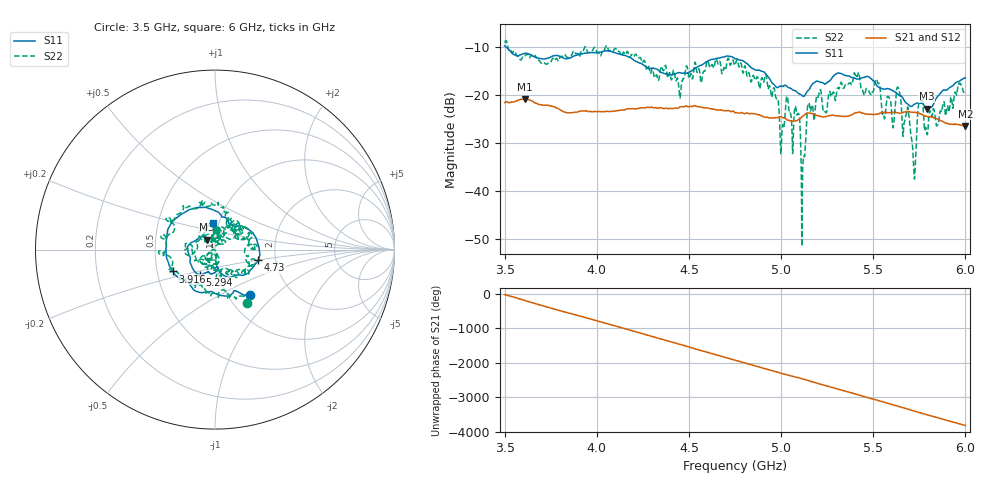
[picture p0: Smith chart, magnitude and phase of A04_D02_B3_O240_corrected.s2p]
! Created with skrf 1.9.0 (http://scikit-rf.org).
# Hz S RI R 50.0
!freq ReS11 ImS11 ReS21 ImS21 ReS12 ImS12 ReS22 ImS22
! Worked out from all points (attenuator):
!   1601 points, 3.5 GHz to 6 GHz, reference 50 ohm
!   highest |S21| = -20.96 dB at 3.611 GHz (marker M1); lowest = -26.6 dB at 6 GHz (marker M2)
!   lowest |S11| = -23.0 dB at 5.791 GHz (marker M3), VSWR 1.15, Z = 45.5 + j5.09 ohm
!   |S11| at or under -10 dB: 3.505 GHz to end of sweep
!   |S22| runs from -51.6 to -8.7 dB; largest |S21 - S12| = 0.0011
!   S11 on the Smith chart (normalised r, x): 3.5 GHz: 1.26, -0.72; 3.916 GHz: 0.60, -0.16; 4.73 GHz: 1.62, -0.21; 5.294 GHz: 0.82, -0.23; 6 GHz: 0.94, +0.29
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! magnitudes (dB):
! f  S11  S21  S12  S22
! 3.5 GHz  -9.8  -21.7  -21.7  -9.2
! 3.611 GHz  -11.4  -21.0  -21.0  -11.9
! 3.916 GHz  -11.6  -23.5  -23.4  -11.0
! 3.917 GHz  -11.6  -23.5  -23.4  -10.8
! 4.334 GHz  -15.0  -22.9  -22.8  -17.1
! 4.73 GHz  -12.1  -23.6  -23.5  -13.5
! 4.75 GHz  -12.5  -23.8  -23.7  -13.9
! 4.969 GHz  -18.2  -24.8  -24.8  -20.1
! 5.005 GHz  -18.3  -24.7  -24.7  -27.8
! 5.033 GHz  -18.3  -25.3  -25.2  -20.4
! 5.086 GHz  -19.5  -25.4  -25.4  -24.2
! 5.119 GHz  -20.3  -24.5  -24.4  -34.4
! 5.145 GHz  -19.2  -23.8  -23.8  -22.2
! 5.167 GHz  -17.9  -24.0  -23.9  -22.2
! 5.294 GHz  -15.8  -24.4  -24.3  -21.3
! 5.409 GHz  -16.7  -23.8  -23.7  -16.4
! 5.584 GHz  -18.8  -23.8  -23.7  -20.5
! 5.639 GHz  -20.1  -23.9  -23.8  -18.9
! 5.72 GHz  -22.1  -23.7  -23.6  -35.7
! 5.755 GHz  -21.8  -24.0  -23.9  -21.8
! 5.791 GHz  -23.0  -24.6  -24.5  -27.9
! 6 GHz  -16.5  -26.6  -26.5  -19.4
